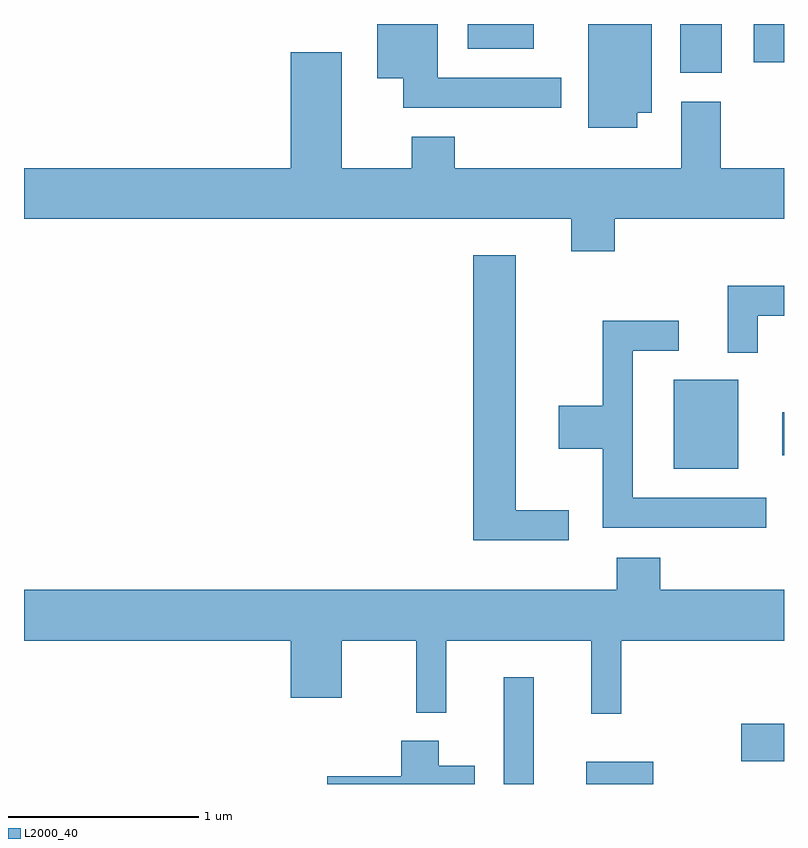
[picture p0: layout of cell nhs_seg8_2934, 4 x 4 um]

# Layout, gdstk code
import gdstk
lib = gdstk.Library(unit=1e-6, precision=1e-09)
def R(c, l, rs):  # rectangles x0, y0, x1, y1
    for r in rs: c.add(gdstk.rectangle(r[:2], r[2:], *l))
def P(c, l, *ps):  # polygons
    for p in ps: c.add(gdstk.Polygon(p, *l))
L2000_40 = (2000, 40)

nhs_seg8_2934 = lib.new_cell('nhs_seg8_2934')
R(nhs_seg8_2934, L2000_40, [(276.136,1822.342,276.294,1822.903), (276.571,1822.342,276.924,1822.459), (277.386,1822.461,277.611,1822.659), (277.031,1824.001,277.369,1824.469), (277.601,1824.071,277.611,1824.299), (277.066,1826.086,277.284,1826.342), (277.451,1826.141,277.611,1826.342), (275.946,1826.211,276.294,1826.342)])
P(nhs_seg8_2934, L2000_40, [(276.438,1826.059),(275.789,1826.059),(275.789,1826.342),(275.471,1826.342),(275.471,1826.056),(275.606,1826.056),(275.606,1825.901),(276.438,1825.901)],
  [(276.839,1825.876),(276.914,1825.876),(276.914,1826.342),(276.581,1826.342),(276.581,1825.796),(276.839,1825.796)],
  [(276.719,1825.316),(277.611,1825.316),(277.611,1825.584),(277.279,1825.584),(277.279,1825.934),(277.071,1825.934),(277.071,1825.584),(275.879,1825.584),(275.879,1825.749),(275.651,1825.749),(275.651,1825.584),(275.284,1825.584),(275.284,1826.194),(275.016,1826.194),(275.016,1825.584),(273.611,1825.584),(273.611,1825.316),(276.491,1825.316),(276.491,1825.146),(276.719,1825.146)],
  [(276.478,1823.784),(276.199,1823.784),(276.199,1825.124),(275.976,1825.124),(275.976,1823.626),(276.478,1823.626)],
  [(277.474,1824.806),(277.611,1824.806),(277.611,1824.964),(277.316,1824.964),(277.316,1824.613),(277.474,1824.613)],
  [(277.518,1823.849),(276.814,1823.849),(276.814,1824.621),(277.058,1824.621),(277.058,1824.779),(276.656,1824.779),(276.656,1824.334),(276.426,1824.334),(276.426,1824.106),(276.656,1824.106),(276.656,1823.691),(277.518,1823.691)],
  [(276.754,1823.096),(277.611,1823.096),(277.611,1823.364),(276.959,1823.364),(276.959,1823.534),(276.731,1823.534),(276.731,1823.364),(273.611,1823.364),(273.611,1823.096),(275.016,1823.096),(275.016,1822.796),(275.284,1822.796),(275.284,1823.096),(275.676,1823.096),(275.676,1822.718),(275.834,1822.718),(275.834,1823.096),(276.596,1823.096),(276.596,1822.713),(276.754,1822.713)],
  [(275.984,1822.439),(275.794,1822.439),(275.794,1822.569),(275.596,1822.569),(275.596,1822.384),(275.206,1822.384),(275.206,1822.342),(275.984,1822.342)])

lib.write_gds('nhs_seg8_2934.gds')
